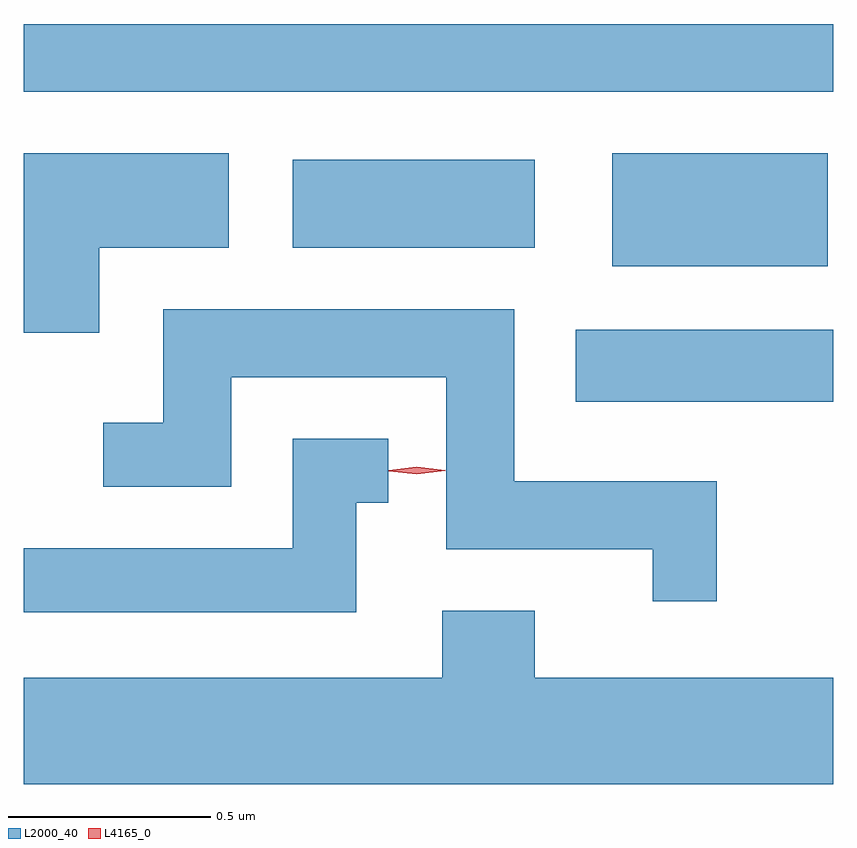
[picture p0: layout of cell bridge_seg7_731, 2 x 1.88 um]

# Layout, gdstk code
import gdstk
lib = gdstk.Library(unit=1e-6, precision=1e-09)
def R(c, l, rs):  # rectangles x0, y0, x1, y1
    for r in rs: c.add(gdstk.rectangle(r[:2], r[2:], *l))
def P(c, l, *ps):  # polygons
    for p in ps: c.add(gdstk.Polygon(p, *l))
L2000_40 = (2000, 40)
L4165_0 = (4165, 0)

bridge_seg7_731 = lib.new_cell('bridge_seg7_731')
R(bridge_seg7_731, L2000_40, [(926.781,1675.306,927.417,1675.484), (926.871,1675.641,927.404,1675.919), (926.081,1675.686,926.679,1675.904), (925.417,1676.071,927.417,1676.239)])
P(bridge_seg7_731, L2000_40, [(925.604,1675.686),(925.924,1675.686),(925.924,1675.919),(925.417,1675.919),(925.417,1675.476),(925.604,1675.476)],
  [(927.129,1675.109),(926.629,1675.109),(926.629,1675.534),(925.761,1675.534),(925.761,1675.254),(925.613,1675.254),(925.613,1675.096),(925.929,1675.096),(925.929,1675.366),(926.461,1675.366),(926.461,1674.941),(926.971,1674.941),(926.971,1674.813),(927.129,1674.813)],
  [(926.239,1675.056),(926.318,1675.056),(926.318,1675.214),(926.081,1675.214),(926.081,1674.944),(925.417,1674.944),(925.417,1674.786),(926.239,1674.786)],
  [(927.417,1674.624),(926.679,1674.624),(926.679,1674.789),(926.451,1674.789),(926.451,1674.624),(925.417,1674.624),(925.417,1674.361),(927.417,1674.361)])
P(bridge_seg7_731, L4165_0, [(926.388,1675.126),(926.319,1675.134),(926.319,1675.135),(926.319,1675.136),(926.388,1675.145),(926.458,1675.136),(926.458,1675.136),(926.458,1675.135)])

lib.write_gds('bridge_seg7_731.gds')
